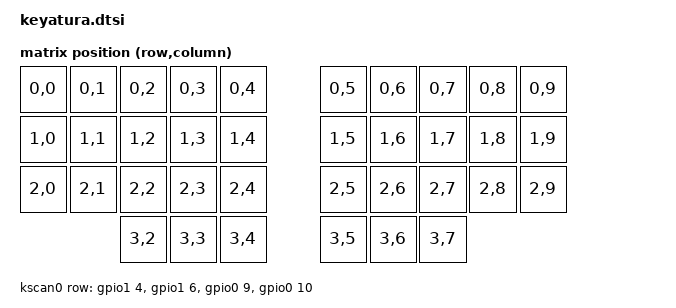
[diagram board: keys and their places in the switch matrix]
#include <dt-bindings/zmk/matrix_transform.h>
#include "keyatura-layouts.dtsi"

/ {
    chosen {
        zmk,kscan = &kscan0;
        // zmk,matrix_transform = &default_transform;
        // zmk,physical-layout = &physical_layout0;
    }; 

    default_transform: keymap_transform0 {
        compatible = "zmk,matrix-transform";
        columns = <10>;
        rows = <4>;

        map = <
            RC(0,0) RC(0,1) RC(0,2) RC(0,3) RC(0,4) RC(0,5) RC(0,6) RC(0,7) RC(0,8) RC(0,9)
            RC(1,0) RC(1,1) RC(1,2) RC(1,3) RC(1,4) RC(1,5) RC(1,6) RC(1,7) RC(1,8) RC(1,9)
            RC(2,0) RC(2,1) RC(2,2) RC(2,3) RC(2,4) RC(2,5) RC(2,6) RC(2,7) RC(2,8) RC(2,9)
                            RC(3,2) RC(3,3) RC(3,4) RC(3,5) RC(3,6) RC(3,7)
        >;
    };

    kscan0: kscan {
        compatible = "zmk,kscan-gpio-matrix";

        diode-direction = "col2row";
		row-gpios
			= <&gpio1 4 (GPIO_ACTIVE_HIGH | GPIO_PULL_DOWN)>
			, <&gpio1 6 (GPIO_ACTIVE_HIGH | GPIO_PULL_DOWN)>
			, <&gpio0 9 (GPIO_ACTIVE_HIGH | GPIO_PULL_DOWN)>
			, <&gpio0 10 (GPIO_ACTIVE_HIGH | GPIO_PULL_DOWN)>
            ;

    };

    aliases {
        led-red = &led0;
        led-green = &led1;
        led-blue = &led2;
    };

    leds {
        compatible = "gpio-leds";
        status = "okay";
        led0: led_0 {
            gpios = <&gpio0 24 GPIO_ACTIVE_HIGH>;  // connected to P0.24
        };
        led1: led_1 {
            gpios = <&gpio1 0 GPIO_ACTIVE_HIGH>;  //  connected to P1.00
        };
        led2: led_2 {
            gpios = <&gpio0 11 GPIO_ACTIVE_HIGH>;  // connected to P0.11
        };
    };

};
